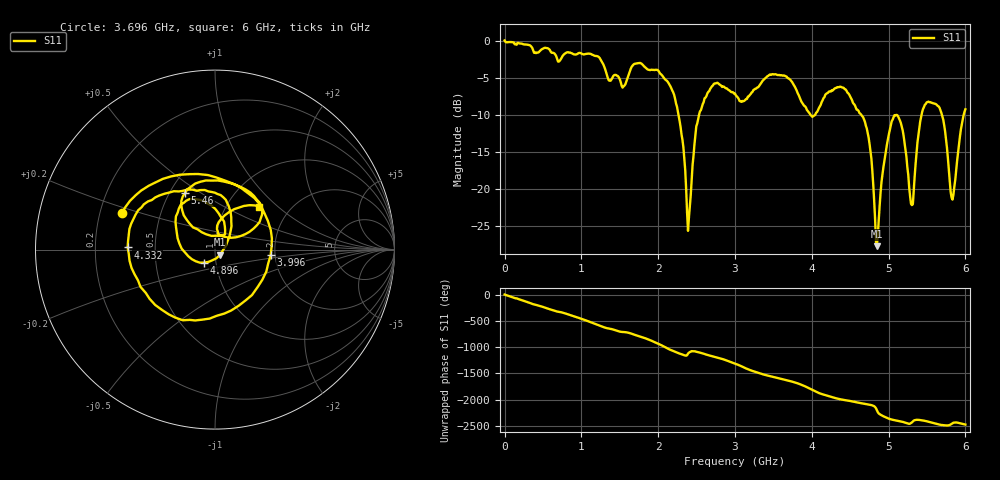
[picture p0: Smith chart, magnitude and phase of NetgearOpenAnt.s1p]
# Hz S RI R 50
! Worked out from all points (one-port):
!   501 points, 1 MHz to 6 GHz, reference 50 ohm
!   lowest |S11| = -27.8 dB at 4.848 GHz (marker M1), VSWR 1.09, Z = 52.9 - j3.08 ohm
!   |S11| at or under -10 dB: 2.265 GHz to 2.532 GHz (267.6 MHz wide, 11.2 % of centre); 4.645 GHz to 5.429 GHz (783.9 MHz wide, 15.6 % of centre); 5.694 GHz to 5.978 GHz (283.2 MHz wide, 4.85 % of centre)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
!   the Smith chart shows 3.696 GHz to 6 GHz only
!   S11 on the Smith chart (normalised r, x): 3.696 GHz: 0.29, +0.17; 3.996 GHz: 1.89, -0.13; 4.332 GHz: 0.35, +0.01; 4.896 GHz: 0.88, -0.13; 5.46 GHz: 0.60, +0.43; 6 GHz: 1.41, +0.77
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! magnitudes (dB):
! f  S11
! 1 MHz  0.1
! 756.9 MHz  -2.0
! 1.501 GHz  -5.2
! 1.993 GHz  -3.9
! 2.257 GHz  -9.5
! 2.401 GHz  -23.9
! 2.497 GHz  -11.5
! 2.593 GHz  -8.3
! 2.749 GHz  -5.8
! 3.001 GHz  -7.1
! 3.696 GHz  -5.1
! 3.756 GHz  -5.8
! 3.996 GHz  -10.1
! 4.332 GHz  -6.2
! 4.5 GHz  -7.5
! 4.728 GHz  -12.4
! 4.848 GHz  -27.8
! 4.896 GHz  -20.5
! 4.992 GHz  -13.2
! 5.088 GHz  -10.1
! 5.172 GHz  -11.7
! 5.256 GHz  -18.1
! 5.304 GHz  -22.2
! 5.4 GHz  -11.7
! 5.46 GHz  -9.0
! 5.688 GHz  -9.8
! 5.832 GHz  -21.5
! 6 GHz  -9.2
